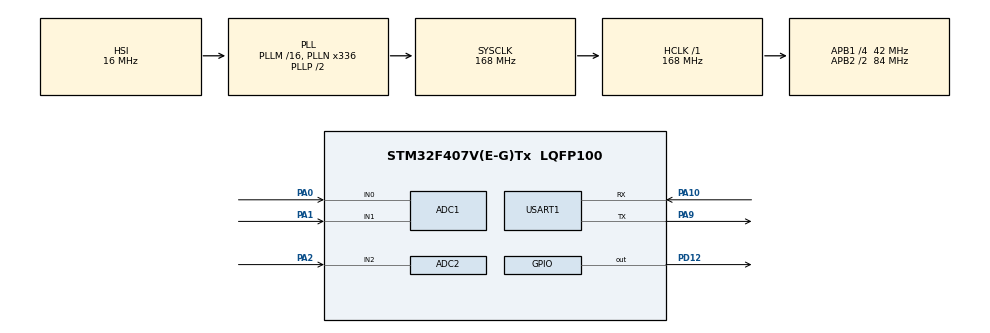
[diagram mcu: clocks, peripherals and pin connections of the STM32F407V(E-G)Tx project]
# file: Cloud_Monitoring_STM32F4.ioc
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ADC1.Channel-1\#ChannelRegularConversion=ADC_CHANNEL_0
ADC1.Channel-2\#ChannelInjectedConversion=ADC_CHANNEL_0
ADC1.Channel-3\#ChannelInjectedConversion=ADC_CHANNEL_0
ADC1.Channel-4\#ChannelInjectedConversion=ADC_CHANNEL_0
ADC1.Channel-7\#ChannelRegularConversion=ADC_CHANNEL_1
ADC1.Channel-8\#ChannelRegularConversion=ADC_CHANNEL_2
ADC1.ContinuousConvMode=DISABLE
ADC1.InjNumberOfConversion=3
ADC1.InjectedOffset-2\#ChannelInjectedConversion=0
ADC1.InjectedOffset-3\#ChannelInjectedConversion=0
ADC1.InjectedOffset-4\#ChannelInjectedConversion=0
ADC1.InjectedRank-2\#ChannelInjectedConversion=1
ADC1.InjectedRank-3\#ChannelInjectedConversion=2
ADC1.InjectedRank-4\#ChannelInjectedConversion=3
ADC1.NbrOfConversion=3
ADC1.NbrOfConversionFlag=1
ADC1.Rank-1\#ChannelRegularConversion=1
ADC1.Rank-7\#ChannelRegularConversion=2
ADC1.Rank-8\#ChannelRegularConversion=3
ADC1.SamplingTime-1\#ChannelRegularConversion=ADC_SAMPLETIME_3CYCLES
ADC1.SamplingTime-2\#ChannelInjectedConversion=ADC_SAMPLETIME_3CYCLES
ADC1.SamplingTime-3\#ChannelInjectedConversion=ADC_SAMPLETIME_3CYCLES
ADC1.SamplingTime-4\#ChannelInjectedConversion=ADC_SAMPLETIME_3CYCLES
ADC1.SamplingTime-7\#ChannelRegularConversion=ADC_SAMPLETIME_3CYCLES
ADC1.SamplingTime-8\#ChannelRegularConversion=ADC_SAMPLETIME_3CYCLES
ADC1.ScanConvMode=ENABLE
ADC1.master=1
ADC2.Channel-0\#ChannelRegularConversion=ADC_CHANNEL_2
ADC2.NbrOfConversionFlag=1
ADC2.Rank-0\#ChannelRegularConversion=1
ADC2.SamplingTime-0\#ChannelRegularConversion=ADC_SAMPLETIME_3CYCLES
Mcu.Family=STM32F4
Mcu.Name=STM32F407V(E-G)Tx
Mcu.Package=LQFP100
NVIC.PriorityGroup=NVIC_PRIORITYGROUP_4
PA0-WKUP.Signal=ADCx_IN0
PA1.Signal=ADCx_IN1
PA10.Mode=Asynchronous
PA10.Signal=USART1_RX
PA13.Mode=Serial_Wire
PA13.Signal=SYS_JTMS-SWDIO
PA14.Mode=Serial_Wire
PA14.Signal=SYS_JTCK-SWCLK
PA2.Signal=ADCx_IN2
PA9.Mode=Asynchronous
PA9.Signal=USART1_TX
PD12.Signal=GPIO_Output
ProjectManager.HeapSize=0x200
ProjectManager.StackSize=0x400
ProjectManager.TargetToolchain=STM32CubeIDE
RCC.48MHZClocksFreq_Value=84000000
RCC.AHBFreq_Value=168000000
RCC.APB1CLKDivider=RCC_HCLK_DIV4
RCC.APB1Freq_Value=42000000
RCC.APB1TimFreq_Value=84000000
RCC.APB2CLKDivider=RCC_HCLK_DIV2
RCC.APB2Freq_Value=84000000
RCC.APB2TimFreq_Value=168000000
RCC.CortexFreq_Value=168000000
RCC.HCLKFreq_Value=168000000
RCC.HSE_VALUE=25000000
RCC.HSI_VALUE=16000000
RCC.LSE_VALUE=32768
RCC.PLLN=336
RCC.SYSCLKFreq_VALUE=168000000
RCC.SYSCLKSource=RCC_SYSCLKSOURCE_PLLCLK
RCC.VCOOutputFreq_Value=336000000
SH.ADCx_IN0.0=ADC1_IN0,IN0
SH.ADCx_IN1.0=ADC1_IN1,IN1
SH.ADCx_IN2.0=ADC2_IN2,IN2
SH.ADCx_IN2.1=ADC1_IN2,IN2
USART1.VirtualMode=VM_ASYNC
board=custom

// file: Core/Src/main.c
/* USER CODE BEGIN Header */
/**
  ******************************************************************************
  * @file           : main.c
  * @brief          : Main program body
  ******************************************************************************
  * @attention
  *
  * Copyright (c) 2026 STMicroelectronics.
  * All rights reserved.
  *
  * This software is licensed under terms that can be found in the LICENSE file
  * in the root directory of this software component.
  * If no LICENSE file comes with this software, it is provided AS-IS.
  *
  ******************************************************************************
  */
/* USER CODE END Header */
#include "main.h"
#include <stdio.h>
#include <string.h>

ADC_HandleTypeDef hadc1;
ADC_HandleTypeDef hadc2;

UART_HandleTypeDef huart1;

/* USER CODE BEGIN PV */

uint32_t adc_voltage_raw;
uint32_t adc_current_raw;
uint32_t adc_temperature_raw;
float voltage;
float current;
float power;
char msg[150];
char status[30];
float temperature;
char device_id[] = "STM32F407_001";

/* USER CODE END PV */

void SystemClock_Config(void);
static void MX_GPIO_Init(void);
static void MX_USART1_UART_Init(void);
static void MX_ADC1_Init(void);
static void MX_ADC2_Init(void);
/* USER CODE BEGIN PFP */
void Read_ADC(void);
void Calculate_Power(void);
void Check_Fault_Status(void);
void Send_UART_Data(void);

/* USER CODE END PFP */

int main(void)
{

  /* MCU Configuration--------------------------------------------------------*/

  /* Reset of all peripherals, Initializes the Flash interface and the Systick. */
  HAL_Init();

  /* Configure the system clock */
  SystemClock_Config();

  /* Initialize all configured peripherals */
  MX_GPIO_Init();
  MX_USART1_UART_Init();
  MX_ADC1_Init();
  MX_ADC2_Init();

  /* Infinite loop */
  while (1)
  {
	  Read_ADC();

	      HAL_GPIO_TogglePin(GPIOD, GPIO_PIN_12);
	      HAL_Delay(1000);

  }
}

void SystemClock_Config(void)
{
  RCC_OscInitTypeDef RCC_OscInitStruct = {0};
  RCC_ClkInitTypeDef RCC_ClkInitStruct = {0};

  /** Configure the main internal regulator output voltage
  */
  __HAL_RCC_PWR_CLK_ENABLE();
  __HAL_PWR_VOLTAGESCALING_CONFIG(PWR_REGULATOR_VOLTAGE_SCALE1);

  /** Initializes the RCC Oscillators according to the specified parameters
  * in the RCC_OscInitTypeDef structure.
  */
  RCC_OscInitStruct.OscillatorType = RCC_OSCILLATORTYPE_HSI;
  RCC_OscInitStruct.HSIState = RCC_HSI_ON;
  RCC_OscInitStruct.HSICalibrationValue = RCC_HSICALIBRATION_DEFAULT;
  RCC_OscInitStruct.PLL.PLLState = RCC_PLL_ON;
  RCC_OscInitStruct.PLL.PLLSource = RCC_PLLSOURCE_HSI;
  RCC_OscInitStruct.PLL.PLLM = 16;
  RCC_OscInitStruct.PLL.PLLN = 336;
  RCC_OscInitStruct.PLL.PLLP = RCC_PLLP_DIV2;
  RCC_OscInitStruct.PLL.PLLQ = 4;
  if (HAL_RCC_OscConfig(&RCC_OscInitStruct) != HAL_OK)
  {
    Error_Handler();
  }

  /** Initializes the CPU, AHB and APB buses clocks
  */
  RCC_ClkInitStruct.ClockType = RCC_CLOCKTYPE_HCLK|RCC_CLOCKTYPE_SYSCLK
                              |RCC_CLOCKTYPE_PCLK1|RCC_CLOCKTYPE_PCLK2;
  RCC_ClkInitStruct.SYSCLKSource = RCC_SYSCLKSOURCE_PLLCLK;
  RCC_ClkInitStruct.AHBCLKDivider = RCC_SYSCLK_DIV1;
  RCC_ClkInitStruct.APB1CLKDivider = RCC_HCLK_DIV4;
  RCC_ClkInitStruct.APB2CLKDivider = RCC_HCLK_DIV2;

  if (HAL_RCC_ClockConfig(&RCC_ClkInitStruct, FLASH_LATENCY_5) != HAL_OK)
  {
    Error_Handler();
  }
}

static void MX_ADC1_Init(void)
{

  ADC_ChannelConfTypeDef sConfig = {0};
  ADC_InjectionConfTypeDef sConfigInjected = {0};

  /** Configure the global features of the ADC (Clock, Resolution, Data Alignment and number of conversion)
  */
  hadc1.Instance = ADC1;
  hadc1.Init.ClockPrescaler = ADC_CLOCK_SYNC_PCLK_DIV4;
  hadc1.Init.Resolution = ADC_RESOLUTION_12B;
  hadc1.Init.ScanConvMode = ENABLE;
  hadc1.Init.ContinuousConvMode = DISABLE;
  hadc1.Init.DiscontinuousConvMode = DISABLE;
  hadc1.Init.ExternalTrigConvEdge = ADC_EXTERNALTRIGCONVEDGE_NONE;
  hadc1.Init.ExternalTrigConv = ADC_SOFTWARE_START;
  hadc1.Init.DataAlign = ADC_DATAALIGN_RIGHT;
  hadc1.Init.NbrOfConversion = 3;
  hadc1.Init.DMAContinuousRequests = DISABLE;
  hadc1.Init.EOCSelection = ADC_EOC_SINGLE_CONV;
  if (HAL_ADC_Init(&hadc1) != HAL_OK)
  {
    Error_Handler();
  }

  /** Configure for the selected ADC regular channel its corresponding rank in the sequencer and its sample time.
  */
  sConfig.Channel = ADC_CHANNEL_0;
  sConfig.Rank = 1;
  sConfig.SamplingTime = ADC_SAMPLETIME_3CYCLES;
  if (HAL_ADC_ConfigChannel(&hadc1, &sConfig) != HAL_OK)
  {
    Error_Handler();
  }

  /** Configure for the selected ADC regular channel its corresponding rank in the sequencer and its sample time.
  */
  sConfig.Channel = ADC_CHANNEL_1;
  sConfig.Rank = 2;
  if (HAL_ADC_ConfigChannel(&hadc1, &sConfig) != HAL_OK)
  {
    Error_Handler();
  }

  /** Configure for the selected ADC regular channel its corresponding rank in the sequencer and its sample time.
  */
  sConfig.Channel = ADC_CHANNEL_2;
  sConfig.Rank = 3;
  if (HAL_ADC_ConfigChannel(&hadc1, &sConfig) != HAL_OK)
  {
    Error_Handler();
  }

  /** Configures for the selected ADC injected channel its corresponding rank in the sequencer and its sample time
  */
  sConfigInjected.InjectedChannel = ADC_CHANNEL_0;
  sConfigInjected.InjectedRank = 1;
  sConfigInjected.InjectedNbrOfConversion = 3;
  sConfigInjected.InjectedSamplingTime = ADC_SAMPLETIME_3CYCLES;
  sConfigInjected.ExternalTrigInjecConvEdge = ADC_EXTERNALTRIGINJECCONVEDGE_NONE;
  sConfigInjected.ExternalTrigInjecConv = ADC_INJECTED_SOFTWARE_START;
  sConfigInjected.AutoInjectedConv = DISABLE;
  sConfigInjected.InjectedDiscontinuousConvMode = DISABLE;
  sConfigInjected.InjectedOffset = 0;
  if (HAL_ADCEx_InjectedConfigChannel(&hadc1, &sConfigInjected) != HAL_OK)
  {
    Error_Handler();
  }

  /** Configures for the selected ADC injected channel its corresponding rank in the sequencer and its sample time
  */
  sConfigInjected.InjectedRank = 2;
  if (HAL_ADCEx_InjectedConfigChannel(&hadc1, &sConfigInjected) != HAL_OK)
  {
    Error_Handler();
  }

  /** Configures for the selected ADC injected channel its corresponding rank in the sequencer and its sample time
  */
  sConfigInjected.InjectedRank = 3;
  if (HAL_ADCEx_InjectedConfigChannel(&hadc1, &sConfigInjected) != HAL_OK)
  {
    Error_Handler();
  }

}

static void MX_ADC2_Init(void)
{

  ADC_ChannelConfTypeDef sConfig = {0};

  /** Configure the global features of the ADC (Clock, Resolution, Data Alignment and number of conversion)
  */
  hadc2.Instance = ADC2;
  hadc2.Init.ClockPrescaler = ADC_CLOCK_SYNC_PCLK_DIV4;
  hadc2.Init.Resolution = ADC_RESOLUTION_12B;
  hadc2.Init.ScanConvMode = DISABLE;
  hadc2.Init.ContinuousConvMode = DISABLE;
  hadc2.Init.DiscontinuousConvMode = DISABLE;
  hadc2.Init.ExternalTrigConvEdge = ADC_EXTERNALTRIGCONVEDGE_NONE;
  hadc2.Init.ExternalTrigConv = ADC_SOFTWARE_START;
  hadc2.Init.DataAlign = ADC_DATAALIGN_RIGHT;
  hadc2.Init.NbrOfConversion = 1;
  hadc2.Init.DMAContinuousRequests = DISABLE;
  hadc2.Init.EOCSelection = ADC_EOC_SINGLE_CONV;
  if (HAL_ADC_Init(&hadc2) != HAL_OK)
  {
    Error_Handler();
  }

  /** Configure for the selected ADC regular channel its corresponding rank in the sequencer and its sample time.
  */
  sConfig.Channel = ADC_CHANNEL_2;
  sConfig.Rank = 1;
  sConfig.SamplingTime = ADC_SAMPLETIME_3CYCLES;
  if (HAL_ADC_ConfigChannel(&hadc2, &sConfig) != HAL_OK)
  {
    Error_Handler();
  }

}

static void MX_USART1_UART_Init(void)
{

  huart1.Instance = USART1;
  huart1.Init.BaudRate = 115200;
  huart1.Init.WordLength = UART_WORDLENGTH_8B;
  huart1.Init.StopBits = UART_STOPBITS_1;
  huart1.Init.Parity = UART_PARITY_NONE;
  huart1.Init.Mode = UART_MODE_TX_RX;
  huart1.Init.HwFlowCtl = UART_HWCONTROL_NONE;
  huart1.Init.OverSampling = UART_OVERSAMPLING_16;
  if (HAL_UART_Init(&huart1) != HAL_OK)
  {
    Error_Handler();
  }

}

static void MX_GPIO_Init(void)
{
  GPIO_InitTypeDef GPIO_InitStruct = {0};

  /* GPIO Ports Clock Enable */
  __HAL_RCC_GPIOA_CLK_ENABLE();
  __HAL_RCC_GPIOD_CLK_ENABLE();

  /*Configure GPIO pin Output Level */
  HAL_GPIO_WritePin(GPIOD, GPIO_PIN_12, GPIO_PIN_RESET);

  /*Configure GPIO pin : PD12 */
  GPIO_InitStruct.Pin = GPIO_PIN_12;
  GPIO_InitStruct.Mode = GPIO_MODE_OUTPUT_PP;
  GPIO_InitStruct.Pull = GPIO_NOPULL;
  GPIO_InitStruct.Speed = GPIO_SPEED_FREQ_LOW;
  HAL_GPIO_Init(GPIOD, &GPIO_InitStruct);

  /* USER CODE BEGIN MX_GPIO_Init_2 */
  /* USER CODE BEGIN MX_GPIO_Init 2 */

  /* USER CODE END MX_GPIO_Init 2 */

  /* USER CODE END MX_GPIO_Init_2 */
}

/* USER CODE BEGIN 4 */
void Read_ADC(void)
{
	HAL_ADC_Start(&hadc1);

	    // PA0 - Voltage
	    HAL_ADC_PollForConversion(&hadc1, HAL_MAX_DELAY);
	    adc_voltage_raw = HAL_ADC_GetValue(&hadc1);

	    // PA1 - Current
	    HAL_ADC_PollForConversion(&hadc1, HAL_MAX_DELAY);
	    adc_current_raw = HAL_ADC_GetValue(&hadc1);

	    // PA2 - Temperature
	    HAL_ADC_PollForConversion(&hadc1, HAL_MAX_DELAY);
	    adc_temperature_raw = HAL_ADC_GetValue(&hadc1);

	    HAL_ADC_Stop(&hadc1);

	    // Convert voltage ADC value to voltage
	    voltage = (adc_voltage_raw * 3.3f) / 4095.0f;
}

void Calculate_Power(void)
{
    current = 2.5f;

    power = voltage * current;

    temperature = 32.0f;
}

	void Check_Fault_Status(void)
	{
	    if (voltage > 2.8f)
	    {
	        strcpy(status, "OVER VOLTAGE");
	    }
	    else if (voltage < 0.5f)
	    {
	        strcpy(status, "UNDER VOLTAGE");
	    }
	    else if (current > 5.0f)
	    {
	        strcpy(status, "OVER CURRENT");
	    }
	    else if (temperature > 70.0f)
	    {
	        strcpy(status, "OVER TEMPERATURE");
	    }
	    else
	    {
	        strcpy(status, "NORMAL");
	    }
	}

	void Send_UART_Data(void)
	{
	    snprintf(msg, sizeof(msg),
	             "{\"device\":\"%s\",\"voltage\":%.2f,\"current\":%.2f,\"power\":%.2f,\"temperature\":%.2f,\"status\":\"%s\"}\r\n",
	             device_id,
	             voltage,
	             current,
	             power,
	             temperature,
	             status);

	    HAL_UART_Transmit(&huart1,
	                      (uint8_t *)msg,
	                      strlen(msg),
	                      HAL_MAX_DELAY);
	}

/* USER CODE END 4 */

void Error_Handler(void)
{
	    __disable_irq();
	    while (1)
	    {
	    }
}
